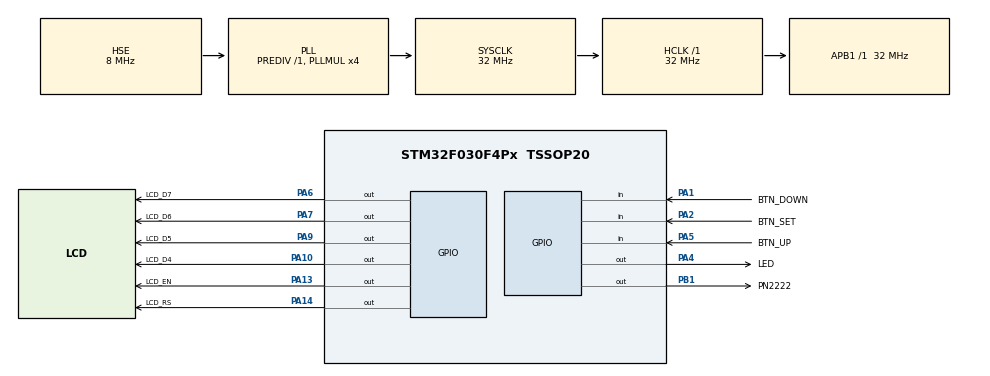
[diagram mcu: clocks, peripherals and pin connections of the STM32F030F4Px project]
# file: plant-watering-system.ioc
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Mcu.Family=STM32F0
Mcu.Name=STM32F030F4Px
Mcu.Package=TSSOP20
NVIC.RTC_IRQn=true\:0\:0\:false\:false\:true\:true\:true
NVIC.TIM14_IRQn=true\:0\:0\:false\:false\:true\:true\:true
NVIC.TIM16_IRQn=true\:0\:0\:false\:false\:true\:true\:true
PA1.GPIO_Label=BTN_DOWN
PA1.GPIO_Mode=GPIO_MODE_INPUT
PA1.GPIO_PuPd=GPIO_PULLUP
PA1.Signal=GPIO_Input
PA10.GPIO_Label=LCD_D4
PA10.GPIO_Speed=GPIO_SPEED_FREQ_HIGH
PA10.PinState=GPIO_PIN_RESET
PA10.Signal=GPIO_Output
PA13.GPIO_Label=LCD_EN
PA13.GPIO_Speed=GPIO_SPEED_FREQ_HIGH
PA13.PinState=GPIO_PIN_RESET
PA13.Signal=GPIO_Output
PA14.GPIO_Label=LCD_RS
PA14.GPIO_Speed=GPIO_SPEED_FREQ_HIGH
PA14.PinState=GPIO_PIN_RESET
PA14.Signal=GPIO_Output
PA2.GPIO_Label=BTN_SET
PA2.GPIO_Mode=GPIO_MODE_INPUT
PA2.GPIO_PuPd=GPIO_PULLUP
PA2.Signal=GPIO_Input
PA4.GPIO_Label=LED
PA4.GPIO_Speed=GPIO_SPEED_FREQ_HIGH
PA4.PinState=GPIO_PIN_RESET
PA4.Signal=GPIO_Output
PA5.GPIO_Label=BTN_UP
PA5.GPIO_PuPd=GPIO_PULLUP
PA5.Signal=GPIO_Input
PA6.GPIO_Label=LCD_D7
PA6.GPIO_Speed=GPIO_SPEED_FREQ_HIGH
PA6.PinState=GPIO_PIN_RESET
PA6.Signal=GPIO_Output
PA7.GPIO_Label=LCD_D6
PA7.GPIO_Speed=GPIO_SPEED_FREQ_HIGH
PA7.PinState=GPIO_PIN_RESET
PA7.Signal=GPIO_Output
PA9.GPIO_Label=LCD_D5
PA9.GPIO_Speed=GPIO_SPEED_FREQ_HIGH
PA9.PinState=GPIO_PIN_RESET
PA9.Signal=GPIO_Output
PB1.GPIO_Label=PN2222
PB1.GPIO_Speed=GPIO_SPEED_FREQ_HIGH
PB1.PinState=GPIO_PIN_RESET
PB1.Signal=GPIO_Output
PF0-OSC_IN.Mode=HSE-External-Oscillator
PF0-OSC_IN.Signal=RCC_OSC_IN
PF1-OSC_OUT.Mode=HSE-External-Oscillator
PF1-OSC_OUT.Signal=RCC_OSC_OUT
ProjectManager.HeapSize=0x200
ProjectManager.StackSize=0x400
ProjectManager.TargetToolchain=STM32CubeIDE
RCC.AHBFreq_Value=32000000
RCC.APB1Freq_Value=32000000
RCC.APB1TimFreq_Value=32000000
RCC.HCLKFreq_Value=32000000
RCC.PLLMUL=RCC_PLL_MUL4
RCC.PLLSourceVirtual=RCC_PLLSOURCE_HSE
RCC.RTCClockSelection=RCC_RTCCLKSOURCE_HSE_DIV32
RCC.SYSCLKFreq_VALUE=32000000
RCC.SYSCLKSource=RCC_SYSCLKSOURCE_PLLCLK
RTC.Alarm=RTC_ALARM_A
RTC.Format=RTC_FORMAT_BIN
RTC.SynchPrediv=1953
TIM14.Period=1000
TIM14.Prescaler=32000
TIM16.Period=1000
TIM16.Prescaler=32000
VP_RTC_VS_RTC_Activate.Mode=RTC_Enabled
VP_RTC_VS_RTC_Alarm_A_Intern.Mode=Alarm A
VP_RTC_VS_RTC_Calendar.Mode=RTC_Calendar
VP_TIM14_VS_ClockSourceINT.Mode=Enable_Timer
VP_TIM16_VS_ClockSourceINT.Mode=Enable_Timer
board=custom

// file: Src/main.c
/* USER CODE BEGIN Header */
/**
  ******************************************************************************
  * @file           : main.c
  * @brief          : Main program body
  ******************************************************************************
  * @attention
  *
  * <h2><center>&copy; Copyright (c) 2021 STMicroelectronics.
  * All rights reserved.</center></h2>
  *
  * This software component is licensed by ST under BSD 3-Clause license,
  * the "License"; You may not use this file except in compliance with the
  * License. You may obtain a copy of the License at:
  *                        opensource.org/licenses/BSD-3-Clause
  *
  ******************************************************************************
  */
/* USER CODE END Header */
#include "main.h"

/* USER CODE BEGIN Includes */
/* Include core modules */
#include "stm32fxxx_hal.h"
/* Include my libraries here */
#include "defines.h"
#include "tm_stm32_delay.h"
#include "tm_stm32_hd44780.h"
#include <stdio.h>
/* USER CODE END Includes */

/* USER CODE BEGIN PTD */
typedef struct {
	uint8_t hour;
	uint8_t minute;
	uint8_t duration;
} Schedule;
/* USER CODE END PTD */

/* USER CODE BEGIN PD */
#define MODE_DISPLAY_CLCOK		0x00
#define MODE_SET_CLOCK			0x01
#define SET_HOUR				0x00
#define SET_MINUTE				0x01
#define SET_SECONDS				0x02
/* USER CODE END PD */

/* USER CODE BEGIN PM */
#define BTN_PRESSED(GPIOx, GPIO_Pin) ({\
	uint8_t result = 0;\
	if(HAL_GPIO_ReadPin(GPIOx, GPIO_Pin) == 0) { \
		while(HAL_GPIO_ReadPin(GPIOx, GPIO_Pin) == 0);\
		Delay(100);\
		result = 1;\
	}\
	result;\
})
/* USER CODE END PM */

RTC_HandleTypeDef hrtc;

TIM_HandleTypeDef htim14;
TIM_HandleTypeDef htim16;

/* USER CODE BEGIN PV */
char cTime[12];
RTC_TimeTypeDef tTime = {0};
RTC_TimeTypeDef sTime = {0};
RTC_DateTypeDef sDate = {0};
uint8_t mode = 0;
uint8_t subMode = 0;
uint8_t onCounter = 0;
Schedule schedules[] = {{7, 0, 120}, {17, 0, 60}};
uint8_t scheduleIdx = -1;
uint8_t scheduleCount = 2;
/* USER CODE END PV */

void SystemClock_Config(void);
static void MX_GPIO_Init(void);
static void MX_RTC_Init(void);
static void MX_TIM14_Init(void);
static void MX_TIM16_Init(void);
/* USER CODE BEGIN PFP */
extern void TM_HD44780_Init(uint8_t cols, uint8_t rows);
void DisplayTime(RTC_TimeTypeDef sTime);
void setNextSchedule();
/* USER CODE END PFP */

/* USER CODE BEGIN 0 */
void HAL_TIM_PeriodElapsedCallback(TIM_HandleTypeDef *htim) {
	if(htim->Instance == TIM14) {
		if (HAL_RTC_GetTime(&hrtc, &sTime, RTC_FORMAT_BIN) != HAL_OK ||
				HAL_RTC_GetDate(&hrtc, &sDate, RTC_FORMAT_BIN) != HAL_OK)
		{
			Error_Handler();
		}
		DisplayTime(sTime);
	}
	if(htim->Instance == TIM16) {
		if(onCounter <= 0) {
			HAL_GPIO_WritePin(PN2222_GPIO_Port, PN2222_Pin, 0);
			HAL_GPIO_WritePin(LED_GPIO_Port, LED_Pin, 0);
			HAL_TIM_Base_Stop_IT(&htim16);
		}
		else {
			onCounter--;
		}
	}
}
void HAL_RTC_AlarmAEventCallback(RTC_HandleTypeDef *hrtc) {
	HAL_GPIO_WritePin(PN2222_GPIO_Port, PN2222_Pin, 1);
	HAL_GPIO_WritePin(LED_GPIO_Port, LED_Pin, 1);
	onCounter = schedules[scheduleIdx].duration;
	HAL_TIM_Base_Start_IT(&htim16);
	setNextSchedule();
}
void setNextSchedule() {
	scheduleIdx = (scheduleIdx < scheduleCount) ? scheduleIdx + 1 : 0;
	HAL_RTC_DeactivateAlarm(&hrtc, RTC_ALARM_A);
	RTC_AlarmTypeDef sAlarm = {0};
	sAlarm.AlarmTime.Hours = schedules[scheduleIdx].hour;
	sAlarm.AlarmTime.Minutes = schedules[scheduleIdx].minute;
	sAlarm.AlarmTime.Seconds = 0;
	sAlarm.AlarmTime.SubSeconds = 0;
	sAlarm.AlarmTime.DayLightSaving = RTC_DAYLIGHTSAVING_NONE;
	sAlarm.AlarmTime.StoreOperation = RTC_STOREOPERATION_RESET;
	sAlarm.AlarmMask = RTC_ALARMMASK_DATEWEEKDAY;
	sAlarm.AlarmSubSecondMask = RTC_ALARMSUBSECONDMASK_ALL;
	sAlarm.AlarmDateWeekDaySel = RTC_ALARMDATEWEEKDAYSEL_DATE;
	sAlarm.AlarmDateWeekDay = 1;
	sAlarm.Alarm = RTC_ALARM_A;
	if (HAL_RTC_SetAlarm_IT(&hrtc, &sAlarm, RTC_FORMAT_BIN) != HAL_OK) {
		Error_Handler();
	}
}
void DisplayTime(RTC_TimeTypeDef sTime) {
	sprintf(cTime, "%02d:%02d:%02d", sTime.Hours, sTime.Minutes, sTime.Seconds);
	TM_HD44780_Puts(0, 1, cTime);
}
/* USER CODE END 0 */

int main(void)
{

  /* MCU Configuration--------------------------------------------------------*/

  /* Reset of all peripherals, Initializes the Flash interface and the Systick. */
  HAL_Init();

  /* Configure the system clock */
  SystemClock_Config();

  /* Initialize all configured peripherals */
  MX_GPIO_Init();
  MX_RTC_Init();
  MX_TIM14_Init();
  MX_TIM16_Init();
  /* USER CODE BEGIN 2 */
  TM_HD44780_Init(16, 2);
  TM_HD44780_Puts(0, 0, "Hello Booboo");
  HAL_TIM_Base_Start_IT(&htim14);
  setNextSchedule();
  /* USER CODE END 2 */

  /* Infinite loop */
  while (1)
  {

    /* USER CODE BEGIN 3 */
	if(BTN_PRESSED(BTN_SET_GPIO_Port, BTN_SET_Pin)) {
		if(mode == MODE_DISPLAY_CLCOK) {
			mode = MODE_SET_CLOCK;
			subMode = SET_HOUR;
			HAL_TIM_Base_Stop(&htim14);
			tTime = sTime;
		}
		else {
			if(mode == MODE_SET_CLOCK && subMode < SET_SECONDS) {
				subMode++;
			}
			else {
				mode = MODE_DISPLAY_CLCOK;
				subMode = -1;
				if (HAL_RTC_SetTime(&hrtc, &tTime, RTC_FORMAT_BIN) != HAL_OK)
				{
					Error_Handler();
				}
				sTime = tTime;
				HAL_TIM_Base_Start_IT(&htim14);
			}
		}
		switch(subMode) {
		case SET_HOUR: { TM_HD44780_Puts(0, 0, "Set Hour    "); break; }
		case SET_MINUTE: { TM_HD44780_Puts(0, 0, "Set Minutes "); break; }
		case SET_SECONDS: { TM_HD44780_Puts(0, 0, "Set Seconds "); break; }
		default: { TM_HD44780_Puts(0, 0, "Hello Booboo"); }
		}
	}
	if(BTN_PRESSED(BTN_UP_GPIO_Port, BTN_UP_Pin)) {
		switch (subMode) {
		case SET_HOUR: {
			if((hrtc.Init.HourFormat == RTC_HOURFORMAT_24 && tTime.Hours < 23U) ||
				(hrtc.Init.HourFormat == RTC_HOURFORMAT_12 && tTime.Hours < 11U)) {
				tTime.Hours += 1;
			}
			break;
		}
		case SET_MINUTE: { if(tTime.Minutes < 59) tTime.Minutes += 1; break; }
		case SET_SECONDS: {	if(tTime.Seconds < 59) tTime.Seconds += 1; break; }
		}
		DisplayTime(tTime);
	}
	if(BTN_PRESSED(BTN_DOWN_GPIO_Port, BTN_DOWN_Pin)) {
		switch (subMode) {
		case SET_HOUR: { if(tTime.Hours > 0) tTime.Hours -= 1; break; }
		case SET_MINUTE: { if(tTime.Minutes > 0) tTime.Minutes -= 1; break; }
		case SET_SECONDS: { if(tTime.Seconds > 0) tTime.Seconds -= 1; break; }
		}
		DisplayTime(tTime);
	}
  }
  /* USER CODE END 3 */
}

void SystemClock_Config(void)
{
  RCC_OscInitTypeDef RCC_OscInitStruct = {0};
  RCC_ClkInitTypeDef RCC_ClkInitStruct = {0};
  RCC_PeriphCLKInitTypeDef PeriphClkInit = {0};

  /** Initializes the RCC Oscillators according to the specified parameters
  * in the RCC_OscInitTypeDef structure.
  */
  RCC_OscInitStruct.OscillatorType = RCC_OSCILLATORTYPE_HSE;
  RCC_OscInitStruct.HSEState = RCC_HSE_ON;
  RCC_OscInitStruct.PLL.PLLState = RCC_PLL_ON;
  RCC_OscInitStruct.PLL.PLLSource = RCC_PLLSOURCE_HSE;
  RCC_OscInitStruct.PLL.PLLMUL = RCC_PLL_MUL4;
  RCC_OscInitStruct.PLL.PREDIV = RCC_PREDIV_DIV1;
  if (HAL_RCC_OscConfig(&RCC_OscInitStruct) != HAL_OK)
  {
    Error_Handler();
  }
  /** Initializes the CPU, AHB and APB buses clocks
  */
  RCC_ClkInitStruct.ClockType = RCC_CLOCKTYPE_HCLK|RCC_CLOCKTYPE_SYSCLK
                              |RCC_CLOCKTYPE_PCLK1;
  RCC_ClkInitStruct.SYSCLKSource = RCC_SYSCLKSOURCE_PLLCLK;
  RCC_ClkInitStruct.AHBCLKDivider = RCC_SYSCLK_DIV1;
  RCC_ClkInitStruct.APB1CLKDivider = RCC_HCLK_DIV1;

  if (HAL_RCC_ClockConfig(&RCC_ClkInitStruct, FLASH_LATENCY_1) != HAL_OK)
  {
    Error_Handler();
  }
  PeriphClkInit.PeriphClockSelection = RCC_PERIPHCLK_RTC;
  PeriphClkInit.RTCClockSelection = RCC_RTCCLKSOURCE_HSE_DIV32;
  if (HAL_RCCEx_PeriphCLKConfig(&PeriphClkInit) != HAL_OK)
  {
    Error_Handler();
  }
}

static void MX_RTC_Init(void)
{

  RTC_TimeTypeDef sTime = {0};
  RTC_DateTypeDef sDate = {0};
  RTC_AlarmTypeDef sAlarm = {0};

  /** Initialize RTC Only
  */
  hrtc.Instance = RTC;
  hrtc.Init.HourFormat = RTC_HOURFORMAT_24;
  hrtc.Init.AsynchPrediv = 127;
  hrtc.Init.SynchPrediv = 1953;
  hrtc.Init.OutPut = RTC_OUTPUT_DISABLE;
  hrtc.Init.OutPutPolarity = RTC_OUTPUT_POLARITY_HIGH;
  hrtc.Init.OutPutType = RTC_OUTPUT_TYPE_OPENDRAIN;
  if (HAL_RTC_Init(&hrtc) != HAL_OK)
  {
    Error_Handler();
  }

  /** Initialize RTC and set the Time and Date
  */
  sTime.Hours = 0;
  sTime.Minutes = 0;
  sTime.Seconds = 0;
  sTime.DayLightSaving = RTC_DAYLIGHTSAVING_NONE;
  sTime.StoreOperation = RTC_STOREOPERATION_RESET;
  if (HAL_RTC_SetTime(&hrtc, &sTime, RTC_FORMAT_BIN) != HAL_OK)
  {
    Error_Handler();
  }
  sDate.WeekDay = RTC_WEEKDAY_MONDAY;
  sDate.Month = RTC_MONTH_JANUARY;
  sDate.Date = 1;
  sDate.Year = 0;

  if (HAL_RTC_SetDate(&hrtc, &sDate, RTC_FORMAT_BIN) != HAL_OK)
  {
    Error_Handler();
  }
  /** Enable the Alarm A
  */
  sAlarm.AlarmTime.Hours = 0;
  sAlarm.AlarmTime.Minutes = 0;
  sAlarm.AlarmTime.Seconds = 0;
  sAlarm.AlarmTime.SubSeconds = 0;
  sAlarm.AlarmTime.DayLightSaving = RTC_DAYLIGHTSAVING_NONE;
  sAlarm.AlarmTime.StoreOperation = RTC_STOREOPERATION_RESET;
  sAlarm.AlarmMask = RTC_ALARMMASK_NONE;
  sAlarm.AlarmSubSecondMask = RTC_ALARMSUBSECONDMASK_ALL;
  sAlarm.AlarmDateWeekDaySel = RTC_ALARMDATEWEEKDAYSEL_DATE;
  sAlarm.AlarmDateWeekDay = 1;
  sAlarm.Alarm = RTC_ALARM_A;
  if (HAL_RTC_SetAlarm_IT(&hrtc, &sAlarm, RTC_FORMAT_BIN) != HAL_OK)
  {
    Error_Handler();
  }

}

static void MX_TIM14_Init(void)
{

  htim14.Instance = TIM14;
  htim14.Init.Prescaler = 32000;
  htim14.Init.CounterMode = TIM_COUNTERMODE_UP;
  htim14.Init.Period = 1000;
  htim14.Init.ClockDivision = TIM_CLOCKDIVISION_DIV1;
  htim14.Init.AutoReloadPreload = TIM_AUTORELOAD_PRELOAD_DISABLE;
  if (HAL_TIM_Base_Init(&htim14) != HAL_OK)
  {
    Error_Handler();
  }

}

static void MX_TIM16_Init(void)
{

  htim16.Instance = TIM16;
  htim16.Init.Prescaler = 32000;
  htim16.Init.CounterMode = TIM_COUNTERMODE_UP;
  htim16.Init.Period = 1000;
  htim16.Init.ClockDivision = TIM_CLOCKDIVISION_DIV1;
  htim16.Init.RepetitionCounter = 0;
  htim16.Init.AutoReloadPreload = TIM_AUTORELOAD_PRELOAD_DISABLE;
  if (HAL_TIM_Base_Init(&htim16) != HAL_OK)
  {
    Error_Handler();
  }

}

static void MX_GPIO_Init(void)
{
  GPIO_InitTypeDef GPIO_InitStruct = {0};

  /* GPIO Ports Clock Enable */
  __HAL_RCC_GPIOF_CLK_ENABLE();
  __HAL_RCC_GPIOA_CLK_ENABLE();
  __HAL_RCC_GPIOB_CLK_ENABLE();

  /*Configure GPIO pin Output Level */
  HAL_GPIO_WritePin(GPIOA, LED_Pin|LCD_D7_Pin|LCD_D6_Pin|LCD_D5_Pin
                          |LCD_D4_Pin|LCD_EN_Pin|LCD_RS_Pin, GPIO_PIN_RESET);

  /*Configure GPIO pin Output Level */
  HAL_GPIO_WritePin(PN2222_GPIO_Port, PN2222_Pin, GPIO_PIN_RESET);

  /*Configure GPIO pins : BTN_DOWN_Pin BTN_SET_Pin BTN_UP_Pin */
  GPIO_InitStruct.Pin = BTN_DOWN_Pin|BTN_SET_Pin|BTN_UP_Pin;
  GPIO_InitStruct.Mode = GPIO_MODE_INPUT;
  GPIO_InitStruct.Pull = GPIO_PULLUP;
  HAL_GPIO_Init(GPIOA, &GPIO_InitStruct);

  /*Configure GPIO pins : LED_Pin LCD_D7_Pin LCD_D6_Pin LCD_D5_Pin
                           LCD_D4_Pin LCD_EN_Pin LCD_RS_Pin */
  GPIO_InitStruct.Pin = LED_Pin|LCD_D7_Pin|LCD_D6_Pin|LCD_D5_Pin
                          |LCD_D4_Pin|LCD_EN_Pin|LCD_RS_Pin;
  GPIO_InitStruct.Mode = GPIO_MODE_OUTPUT_PP;
  GPIO_InitStruct.Pull = GPIO_NOPULL;
  GPIO_InitStruct.Speed = GPIO_SPEED_FREQ_HIGH;
  HAL_GPIO_Init(GPIOA, &GPIO_InitStruct);

  /*Configure GPIO pin : PN2222_Pin */
  GPIO_InitStruct.Pin = PN2222_Pin;
  GPIO_InitStruct.Mode = GPIO_MODE_OUTPUT_PP;
  GPIO_InitStruct.Pull = GPIO_NOPULL;
  GPIO_InitStruct.Speed = GPIO_SPEED_FREQ_HIGH;
  HAL_GPIO_Init(PN2222_GPIO_Port, &GPIO_InitStruct);

}

void Error_Handler(void)
{
  __disable_irq();
  while (1)
  {
  }
}

/************************ (C) COPYRIGHT STMicroelectronics *****END OF FILE****/
